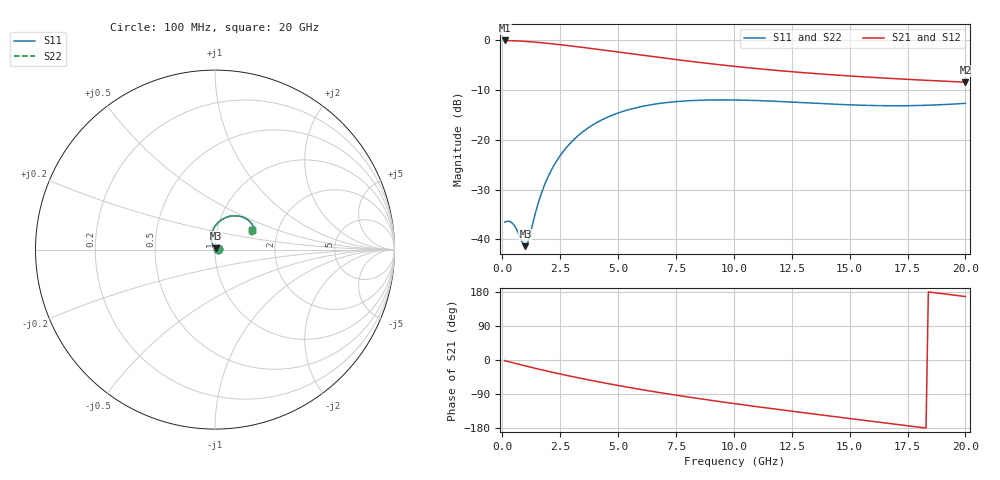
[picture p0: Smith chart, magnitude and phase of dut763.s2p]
! Touchstone file exported from HFSS 2024.1.0
!  File:  C:/UserFiles/LocalFiles/RDL_TSV_Batchsim/temp_RDL_TSV_763_1779900809.aedt
!  Generated:  01:09:45 AM May 28, 2026
!  Design:  RDL_TSV
!  Project:  temp_RDL_TSV_763_1779900809
!  Setup:  Setup1
!  Solution:  Sweep
! Variables:
!  dtsv = 7.04um
!  hbump = 3um
!  htsv = 90.49um
!  ldown = 374.07um
!  lrdl = 374.21um
!  p = 40
!  p1 = 44.5um
!  rhole = 10um
!  subl = 2619.05um
!  t = 450um
!  tdown = 3.69um
!  trdl = 2.87um
!  viad = 10um
!  wdown = 15.56um
!  wrdl = 29.4um
!  xbump = 18um
# GHz S MA R 50.000000
! Terminal data exported
! Port[1] = TM1_1_T1
! Port[2] = TM1_4_T1
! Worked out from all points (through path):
!   200 points, 100 MHz to 20 GHz, reference 50 ohm
!   highest |S21| = -0.13 dB at 100 MHz (marker M1); lowest = -8.5 dB at 20 GHz (marker M2)
!   group delay of S21, straight-line fit = 25.3 ps
!   lowest |S11| = -41.3 dB at 1 GHz (marker M3), VSWR 1.02, Z = 50.5 + j0.722 ohm
!   |S11| at or under -10 dB: start of sweep to end of sweep
!   |S22| runs from -41.4 to -12.0 dB; largest |S21 - S12| = 7.8e-15
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0.1  0.01488 4.1  0.9848 -1.6  0.9848 -1.6  0.01488 4.1
! Gamma 0 0 0 0
! Port Impedance 50 0 50 0
0.3  0.01521 8.1  0.9819 -4.8  0.9819 -4.8  0.01521 8.1
0.5  0.014 10.7  0.9778 -8.0  0.9778 -8.0  0.01399 10.7
0.9  0.008952 39.1  0.9669 -14.1  0.9669 -14.1  0.008943 39.2
1  0.008562 56.6  0.9636 -15.6  0.9636 -15.6  0.008555 56.7
1.1  0.009294 75.3  0.96 -17.1  0.96 -17.1  0.009291 75.4
1.5  0.02103 110.1  0.9435 -23.0  0.9435 -23.0  0.02105 110.2
1.7  0.02946 113.1  0.9343 -25.9  0.9343 -25.9  0.02949 113.2
2.1  0.04853 111.9  0.9142 -31.5  0.9142 -31.5  0.04858 111.9
2.4  0.0639 108.5  0.8984 -35.6  0.8984 -35.6  0.06397 108.6
2.7  0.07964 104.5  0.882 -39.6  0.882 -39.6  0.07973 104.5
3.5  0.1209 92.7  0.8373 -49.8  0.8373 -49.8  0.121 92.8
4.2  0.1535 82.8  0.7983 -58.2  0.7983 -58.2  0.1537 82.9
4.9  0.1812 73.8  0.7601 -66.2  0.7601 -66.2  0.1815 73.8
5.8  0.2092 63.4  0.7131 -75.9  0.7131 -75.9  0.2095 63.4
6.8  0.2305 53.6  0.6648 -86.0  0.6648 -86.0  0.231 53.6
8.4  0.2474 41.1  0.5975 -101.0  0.5975 -101.0  0.248 41.2
10.1  0.2493 31.7  0.5397 -115.7  0.5397 -115.7  0.25 31.7
11.7  0.2426 25.9  0.4967 -128.7  0.4967 -128.7  0.2434 25.9
13.4  0.2321 22.6  0.4608 -142.1  0.4608 -142.1  0.2329 22.6
16.7  0.2184 23.5  0.4109 -167.4  0.4109 -167.4  0.2193 23.4
20  0.2308 27.9  0.3762 167.4  0.3762 167.4  0.2314 27.7
